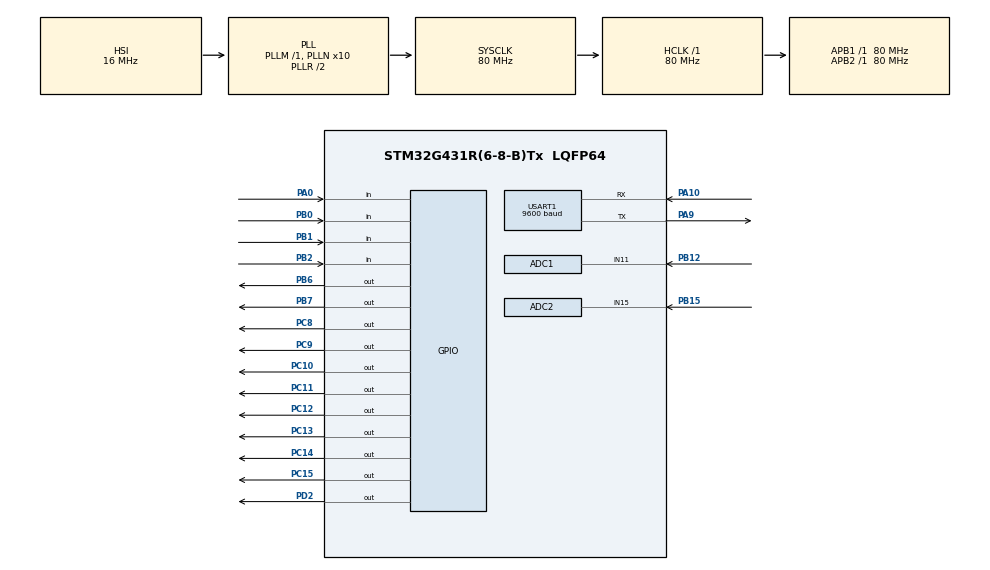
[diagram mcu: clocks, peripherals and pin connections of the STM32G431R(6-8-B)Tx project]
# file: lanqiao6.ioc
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ADC1.Channel-0\#ChannelRegularConversion=ADC_CHANNEL_11
ADC1.NbrOfConversionFlag=1
ADC1.OffsetNumber-0\#ChannelRegularConversion=ADC_OFFSET_NONE
ADC1.Rank-0\#ChannelRegularConversion=1
ADC1.SamplingTime-0\#ChannelRegularConversion=ADC_SAMPLETIME_2CYCLES_5
ADC1.master=1
ADC2.Channel-0\#ChannelRegularConversion=ADC_CHANNEL_15
ADC2.NbrOfConversionFlag=1
ADC2.OffsetNumber-0\#ChannelRegularConversion=ADC_OFFSET_NONE
ADC2.Rank-0\#ChannelRegularConversion=1
ADC2.SamplingTime-0\#ChannelRegularConversion=ADC_SAMPLETIME_2CYCLES_5
Mcu.Family=STM32G4
Mcu.Name=STM32G431R(6-8-B)Tx
Mcu.Package=LQFP64
NVIC.PriorityGroup=NVIC_PRIORITYGROUP_4
NVIC.TIM1_UP_TIM16_IRQn=true\:0\:0\:false\:false\:true\:true\:true\:true
NVIC.TIM2_IRQn=true\:0\:0\:false\:false\:true\:true\:true\:true
NVIC.TIM3_IRQn=true\:0\:0\:false\:false\:true\:true\:true\:true
NVIC.USART1_IRQn=true\:0\:0\:false\:false\:true\:true\:true\:true
PA0.Signal=GPIO_Input
PA10.Mode=Asynchronous
PA10.Signal=USART1_RX
PA13.Mode=Serial_Wire
PA13.Signal=SYS_JTMS-SWDIO
PA14.Mode=Serial_Wire
PA14.Signal=SYS_JTCK-SWCLK
PA9.Mode=Asynchronous
PA9.Signal=USART1_TX
PB0.Signal=GPIO_Input
PB1.Signal=GPIO_Input
PB12.Mode=IN11-Single-Ended
PB12.Signal=ADC1_IN11
PB15.Mode=IN15-Single-Ended
PB15.Signal=ADC2_IN15
PB2.Signal=GPIO_Input
PB6.Signal=GPIO_Output
PB7.Signal=GPIO_Output
PC10.Signal=GPIO_Output
PC11.Signal=GPIO_Output
PC12.Signal=GPIO_Output
PC13.Signal=GPIO_Output
PC14-OSC32_IN.Signal=GPIO_Output
PC15-OSC32_OUT.Signal=GPIO_Output
PC8.Signal=GPIO_Output
PC9.Signal=GPIO_Output
PD2.Signal=GPIO_Output
PF0-OSC_IN.Mode=HSE-External-Oscillator
PF0-OSC_IN.Signal=RCC_OSC_IN
PF1-OSC_OUT.Mode=HSE-External-Oscillator
PF1-OSC_OUT.Signal=RCC_OSC_OUT
ProjectManager.HeapSize=0x200
ProjectManager.StackSize=0x400
ProjectManager.TargetToolchain=MDK-ARM V5.32
RCC.ADC12Freq_Value=80000000
RCC.AHBFreq_Value=80000000
RCC.APB1Freq_Value=80000000
RCC.APB1TimFreq_Value=80000000
RCC.APB2Freq_Value=80000000
RCC.APB2TimFreq_Value=80000000
RCC.CortexFreq_Value=80000000
RCC.EXTERNAL_CLOCK_VALUE=12288000
RCC.HCLKFreq_Value=80000000
RCC.HSE_VALUE=24000000
RCC.HSI48_VALUE=48000000
RCC.HSI_VALUE=16000000
RCC.LSE_VALUE=32768
RCC.PLLN=10
RCC.SYSCLKFreq_VALUE=80000000
RCC.SYSCLKSource=RCC_SYSCLKSOURCE_PLLCLK
RCC.USBFreq_Value=80000000
RCC.VCOOutputFreq_Value=160000000
TIM1.PeriodNoDither=1000-1
TIM1.Prescaler=8000-1
TIM2.PeriodNoDither=10000-1
TIM2.Prescaler=8000-1
TIM3.PeriodNoDither=10000-1
TIM3.Prescaler=80-1
USART1.BaudRate=9600
USART1.VirtualMode-Asynchronous=VM_ASYNC
VP_SYS_VS_DBSignals.Mode=DisableDeadBatterySignals
VP_TIM1_VS_ClockSourceINT.Mode=Internal
VP_TIM2_VS_ClockSourceINT.Mode=Internal
VP_TIM3_VS_ClockSourceINT.Mode=Internal
board=custom

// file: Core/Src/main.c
/* USER CODE BEGIN Header */
/**
  ******************************************************************************
  * @file           : main.c
  * @brief          : Main program body
  ******************************************************************************
  * @attention
  *
  * Copyright (c) 2024 STMicroelectronics.
  * All rights reserved.
  *
  * This software is licensed under terms that can be found in the LICENSE file
  * in the root directory of this software component.
  * If no LICENSE file comes with this software, it is provided AS-IS.
  *
  ******************************************************************************
  */
/* USER CODE END Header */
#include "main.h"
#include "adc.h"
#include "tim.h"
#include "usart.h"
#include "gpio.h"

/* USER CODE BEGIN Includes */
#include "lcd.h"
#include "i2c_hal.h"
#include "interrupt.h"
#include "stdbool.h"
#include "string.h"
#include "stdio.h"
#include "badc.h"
/* USER CODE END Includes */

void SystemClock_Config(void);
/* USER CODE BEGIN PFP */
void view_pro(void);
void key_control(void);
void clock(void);
void uart_show(void);
void upData(void);
void led_control(void);
uint8_t eeprom_read(uint8_t addr);
void eeprom_write(uint8_t addr,uint8_t dat);
float readFloatFromEEPROM(uint8_t startAddress);
void E2P_Read(u8 *string, u16 add, u16 num);
void E2P_Write(u8 *string, u16 add, u16 num);
/* USER CODE END PFP */

/* USER CODE BEGIN 0 */
bool view=0;
uint8_t hour_high=2;
uint8_t hour_low=3;
uint8_t minute_high=5;
uint8_t minute_low=9;
uint8_t second_high=5;
uint8_t second_low=5;

uint8_t hour_high1=0;
uint8_t hour_low1=0;
uint8_t minute_high1=0;
uint8_t minute_low1=0;
uint8_t second_high1=0;
uint8_t second_low1=0;
bool LED_mode=1;
extern struct keys key[4];
extern bool TIM2_flag;
extern uint8_t rx_buffer[30];
extern bool uart_flag;
extern uint8_t rx_data;
extern uint8_t rx_pointer;
extern uint8_t uart_mode;
extern bool TIM1_flag;
float k=0.1;
double V1;
uint8_t clock_setting=0;
bool up_flag=0;
bool up_fflag=0;
bool LED_show;

typedef union {
				float f;
				uint8_t b[4];
		} FloatUnion;

		// ??????EEPROM
		void WriteFloatToEEPROM(uint16_t addr, float value)
		{
				FloatUnion fu;
				fu.f = value;
				for (int i = 0; i < sizeof(fu.b); i++) {
						eeprom_write(addr + i, fu.b[i]);
				}
		}

		// ?EEPROM?????
		float ReadFloatFromEEPROM(uint16_t addr)
		{
				FloatUnion fu;
				for (int i = 0; i < sizeof(fu.b); i++) {
						fu.b[i] = eeprom_read(addr + i);
				}
				return fu.f;
		}

/* USER CODE END 0 */

int main(void)
{

  /* MCU Configuration--------------------------------------------------------*/

  /* Reset of all peripherals, Initializes the Flash interface and the Systick. */
  HAL_Init();

  /* Configure the system clock */
  SystemClock_Config();

  /* Initialize all configured peripherals */
  MX_GPIO_Init();
  MX_TIM3_Init();
  MX_USART1_UART_Init();
  MX_TIM2_Init();
  MX_TIM1_Init();
  MX_ADC1_Init();
  MX_ADC2_Init();
  /* USER CODE BEGIN 2 */
	I2CInit();
	LCD_Init();
	LCD_Clear(Black);
	LCD_SetBackColor(Black);
	LCD_SetTextColor(White);
	HAL_TIM_Base_Init(&htim3);
	HAL_TIM_Base_Start_IT(&htim3);
	HAL_TIM_Base_Init(&htim2);
	HAL_TIM_Base_Start_IT(&htim2);
	HAL_UART_Receive_IT(&huart1 , &rx_data , 1);
	HAL_TIM_Base_Init(&htim1);
	HAL_TIM_Base_Start_IT(&htim1);

//	float myFloat = 1.23f;
//	u8 *p = (u8*)&myFloat;
//	u16 length = sizeof(myFloat);

//	E2P_Write(p, 0, length); // ?????EEPROM???0????
//	float k_read; // ??????????
//	E2P_Read((uint8_t*)&k_read, 0, sizeof(k_read));

	//WriteFloatToEEPROM(0,5);

  /* USER CODE END 2 */

  /* Infinite loop */
  while (1)
  {

    /* USER CODE BEGIN 3 */

		//char text[10];
		//sprintf(text,"%f\n",readFloatFromEEPROM(0));
		//HAL_UART_Transmit(&huart1 , (uint8_t*)text , strlen(text) , 0xff);

		upData();
		key_control();
		view_pro();
		clock();
		uart_show();
		led_control();
		//HAL_UART_Transmit(&huart1 , (uint8_t*)"OK\r\n" , strlen("OK\r\n") , 0xff);
  }
  /* USER CODE END 3 */
}

void SystemClock_Config(void)
{
  RCC_OscInitTypeDef RCC_OscInitStruct = {0};
  RCC_ClkInitTypeDef RCC_ClkInitStruct = {0};

  /** Configure the main internal regulator output voltage
  */
  HAL_PWREx_ControlVoltageScaling(PWR_REGULATOR_VOLTAGE_SCALE1);

  /** Initializes the RCC Oscillators according to the specified parameters
  * in the RCC_OscInitTypeDef structure.
  */
  RCC_OscInitStruct.OscillatorType = RCC_OSCILLATORTYPE_HSI;
  RCC_OscInitStruct.HSIState = RCC_HSI_ON;
  RCC_OscInitStruct.HSICalibrationValue = RCC_HSICALIBRATION_DEFAULT;
  RCC_OscInitStruct.PLL.PLLState = RCC_PLL_ON;
  RCC_OscInitStruct.PLL.PLLSource = RCC_PLLSOURCE_HSI;
  RCC_OscInitStruct.PLL.PLLM = RCC_PLLM_DIV1;
  RCC_OscInitStruct.PLL.PLLN = 10;
  RCC_OscInitStruct.PLL.PLLP = RCC_PLLP_DIV2;
  RCC_OscInitStruct.PLL.PLLQ = RCC_PLLQ_DIV2;
  RCC_OscInitStruct.PLL.PLLR = RCC_PLLR_DIV2;
  if (HAL_RCC_OscConfig(&RCC_OscInitStruct) != HAL_OK)
  {
    Error_Handler();
  }

  /** Initializes the CPU, AHB and APB buses clocks
  */
  RCC_ClkInitStruct.ClockType = RCC_CLOCKTYPE_HCLK|RCC_CLOCKTYPE_SYSCLK
                              |RCC_CLOCKTYPE_PCLK1|RCC_CLOCKTYPE_PCLK2;
  RCC_ClkInitStruct.SYSCLKSource = RCC_SYSCLKSOURCE_PLLCLK;
  RCC_ClkInitStruct.AHBCLKDivider = RCC_SYSCLK_DIV1;
  RCC_ClkInitStruct.APB1CLKDivider = RCC_HCLK_DIV1;
  RCC_ClkInitStruct.APB2CLKDivider = RCC_HCLK_DIV1;

  if (HAL_RCC_ClockConfig(&RCC_ClkInitStruct, FLASH_LATENCY_2) != HAL_OK)
  {
    Error_Handler();
  }
}

/* USER CODE BEGIN 4 */
void view_pro()
{
	if(view==0)
	{
		char text[20];
		sprintf(text , "   V1:%.2fV     ",get_ADC(&hadc2));
		LCD_DisplayStringLine(Line2 , (uint8_t*)text);
		//float k_read;
		//E2P_Read((u8*)&k_read, 0, sizeof(k_read));
		//sprintf(text , "%d\n",eeprom_read(0));
		//HAL_UART_Transmit(&huart1 , (uint8_t*)text , strlen(text) , 0xff);
		sprintf(text , "   k:%.1f     ",readFloatFromEEPROM(0));
		LCD_DisplayStringLine(Line3 , (uint8_t*)text);
		if(LED_mode==0)	LCD_DisplayStringLine(Line4 , (uint8_t*)"   LED:OFF     ");
		if(LED_mode==1)	LCD_DisplayStringLine(Line4 , (uint8_t*)"   LED:ON     ");
		sprintf(text , "   T:%d%d-%d%d-%d%d",hour_high,hour_low,minute_high,minute_low,second_high,second_low);
		LCD_DisplayStringLine(Line5 , (uint8_t*)text);
	}
	if(view==1)
	{
		char text[20];
		LCD_DisplayStringLine(Line2 , (uint8_t*)"      Setting     ");
		LCD_DisplayStringLine(Line3 , (uint8_t*)"               ");
		LCD_DisplayStringLine(Line4 , (uint8_t*)"               ");
		sprintf(text , "     %d%d-%d%d-%d%d     ",hour_high1,hour_low1,minute_high1,minute_low1,second_high1,second_low1);
		LCD_DisplayStringLine(Line5 , (uint8_t*)text);
		LCD_DisplayStringLine(Line6 , (uint8_t*)"                 ");
	}

}

void key_control()
{
	if(key[0].single_flag == 1)
	{
		LED_mode=!LED_mode;
		key[0].single_flag = 0;
		//char text[20];
		//sprintf(text,"%d\r\n",hour_high);
		//HAL_UART_Transmit(&huart1,text,strlen(text),0xff);
	}
	if(key[1].single_flag == 1)
	{
		if(view==1)	up_fflag=0;
		view=!view;

		key[1].single_flag = 0;
	}
	if(key[2].single_flag == 1)
	{
		clock_setting++;
		if(clock_setting==5)	clock_setting=0;
		key[2].single_flag = 0;
	}
	if(key[3].single_flag == 1)
	{
		//char text[5];
		//sprintf(text,"%d\r\n",clock_setting);
		//HAL_UART_Transmit(&huart1,(uint8_t *)text,strlen(text),0xff);
		if(clock_setting==0)	hour_high1++;
		if(clock_setting==1)	hour_low1++;
		if(clock_setting==2)	minute_high1++;
		if(clock_setting==3)	minute_low1++;
		if(clock_setting==4)	second_high1++;
		if(clock_setting==5)	second_low1++;

		if(hour_high1==10)	hour_high1=0;
		if(hour_low1==10)	hour_low1=0;
		if(minute_high1==10)	minute_high1=0;
		if(minute_low1==10)	minute_low1=0;
		if(second_high1==10)	second_high1=0;
		if(second_low1==10)	second_low1=0;
		key[3].single_flag = 0;
	}

}

void led_control()
{
	if(get_ADC(&hadc2)>3.3*k){
		LED_show=1;
	}else{
		LED_show=0;
	}
	if(LED_mode==1 && LED_show==1){
		if(TIM1_flag==0){
			HAL_GPIO_WritePin(GPIOC , GPIO_PIN_8,GPIO_PIN_SET);
		}else if(TIM1_flag==1){
			HAL_GPIO_WritePin(GPIOC , GPIO_PIN_8,GPIO_PIN_RESET);
		}
	}else{
		HAL_GPIO_WritePin(GPIOC , GPIO_PIN_8,GPIO_PIN_SET);
	}

	HAL_GPIO_WritePin(GPIOC , GPIO_PIN_9|GPIO_PIN_10|GPIO_PIN_11|GPIO_PIN_12|GPIO_PIN_13|GPIO_PIN_14|GPIO_PIN_15,GPIO_PIN_SET);
	HAL_GPIO_WritePin(GPIOD,GPIO_PIN_2 , GPIO_PIN_SET);
	HAL_GPIO_WritePin(GPIOD,GPIO_PIN_2 , GPIO_PIN_RESET);//熄灭�?有led
}

void uart_show()
{
	if(uart_mode==0 && uart_flag==1)
	{
		//char text[10];
		sscanf((char*)rx_buffer , "k%f\n",&k);		//读取k

		//sprintf(text , "%.1f\n",k);
		//HAL_UART_Transmit(&huart1 , (uint8_t*)text , strlen(text) , 0xff);
		//uint8_t a = 5;
		//eeprom_write(0,k);
		E2P_Write((u8*)&k, 0, sizeof(k));			//写入�?
		//sprintf(text , "   k:%.1f     ",k);
		//uint8_t a_write = 5;
		//E2P_Write(&a_write, 0, sizeof(a_write));

		// 读取测试�?
		//uint8_t a_read;
		//E2P_Read(&a_read, 0, sizeof(a_read));

		// 发�?�测试�??
		//sprintf(text, "%u\n", a_read);
		//HAL_UART_Transmit(&huart1, (uint8_t*)text, strlen(text), 0xFF);
		HAL_UART_Transmit(&huart1 , (uint8_t*)"ok\n" , strlen("ok\n") , 0xff);

		uart_flag=0;
		rx_pointer=0;
		memset(rx_buffer , 0 , 30);
	}
}

float readFloatFromEEPROM(uint8_t startAddress) {
    float result;
    uint8_t *p = (uint8_t *)&result;

    for (int i = 0; i < sizeof(float); i++) {
        p[i] = eeprom_read(startAddress + i);
    }
    return result;
}
void clock()
{
	if(TIM2_flag == 1)
	{
		second_low++;
		TIM2_flag = 0;
		if(second_low >9)
		{
			second_low = 0;
			second_high++;
		}
		if(second_high >5)
		{
			second_high = 0;
			minute_low++;
		}
		if(minute_low >9)
		{
			minute_low = 0;
			minute_high ++;
		}
		if(minute_high >5)
		{
			minute_high = 0;
			hour_low ++;
		}
		if(hour_low >9)
		{
			hour_low = 0;
			hour_high ++;
		}
		if(hour_high == 2 && hour_low == 4)
		{
				hour_high = 0;
				hour_low = 0;
				minute_high = 0;
				minute_low = 0;
				second_high = 0;
				second_low = 0;
		}

	}
}

void upData()
{
	if((minute_high1==minute_high)&&(minute_low==minute_low1)&&(second_high1==second_high)&&(second_low1==second_low)&&(hour_high1==hour_high)&&(hour_low1==hour_low)&&(up_fflag==0))
	{
		up_flag=1;
	}
	if(up_flag==1)
	{
		char text[20];
		sprintf(text,"%.2f+%.1f+%d%d%d%d%d%d\n",get_ADC(&hadc2),readFloatFromEEPROM(0),hour_high,hour_low,minute_high,minute_low,second_high,second_low);
		HAL_UART_Transmit(&huart1,(uint8_t*)text,strlen(text),0xff);
		up_flag=0;
		up_fflag=1;
	}

}

uint8_t eeprom_read(uint8_t addr)
{
	uint8_t dat;
	I2CStart();
	I2CSendByte(0xa0);	//Write
	I2CWaitAck();	//Wait
	I2CSendByte(addr);
	I2CWaitAck();
	//I2CStop();

	I2CStart();
	I2CSendByte(0xa1);
	I2CWaitAck();
	dat = I2CReceiveByte();
	I2CSendNotAck();
	I2CStop();
	return dat;
}

void eeprom_write(uint8_t addr,uint8_t dat)
{
	I2CStart();
	I2CSendByte(0xa0);	//Write
	I2CWaitAck();	//Wait
	I2CSendByte(addr);
	I2CWaitAck();	//Wait
	I2CSendByte(dat);
	I2CWaitAck();	//Wait
	I2CStop();
}
void E2P_Read(u8 *string, u16 add, u16 num){
	I2CStart();
	I2CSendByte(0xa0);
	I2CWaitAck();

	I2CSendByte(add);
	I2CWaitAck();

	I2CStart();
	I2CSendByte(0xa1);
	I2CWaitAck();

	while(num--){
		*string = I2CReceiveByte();
		if(num) I2CSendAck();
		else I2CSendNotAck();
	}
	I2CStop();
	HAL_Delay(5);
}

void E2P_Write(u8 *string, u16 add, u16 num){
	I2CStart();
	I2CSendByte(0xa0);
	I2CWaitAck();

	I2CSendByte(add);
	I2CWaitAck();

	while(num--){
		I2CSendByte(*string++);
		I2CWaitAck();
	}
	I2CStop();
	HAL_Delay(5);
}

/* USER CODE END 4 */

void Error_Handler(void)
{
  __disable_irq();
  while (1)
  {
  }
}
